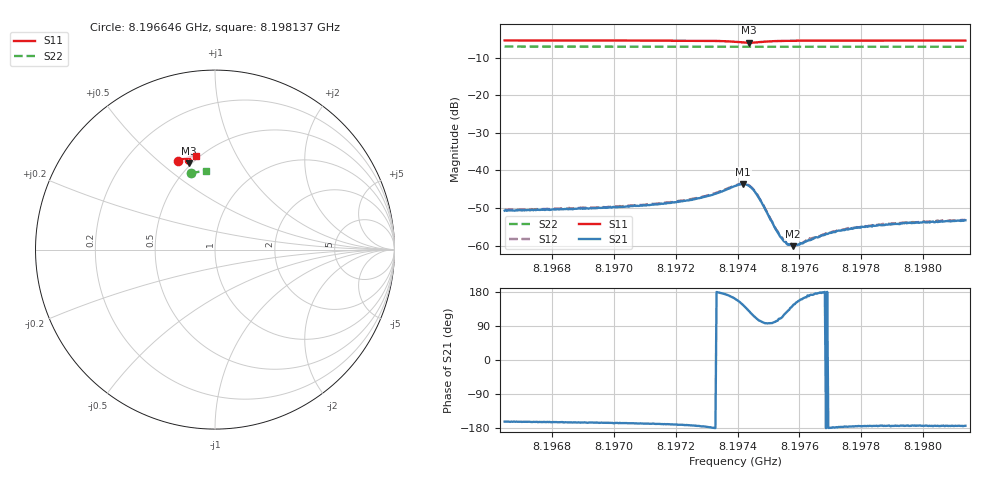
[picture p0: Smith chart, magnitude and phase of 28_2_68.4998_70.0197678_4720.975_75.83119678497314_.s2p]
#  HZ  S  RI  R  50.00
! Rohde & Schwarz Vector Network Analyzer
! Rohde-Schwarz,ZNB20-2Port,1311601062101988,3.16
! Created: UTC 3/20/2024, 4:49:48 PM
! freq[Hz]  re:S11  im:S11  re:S21  im:S21  re:S12  im:S12  re:S22  im:S22
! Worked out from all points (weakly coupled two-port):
!   401 points, 8.196646 GHz to 8.198137 GHz, reference 50 ohm
!   highest |S21| = -43.62 dB at 8.197418 GHz (marker M1); lowest = -60.1 dB at 8.197578 GHz (marker M2)
!   lowest |S11| = -6.0 dB at 8.197437 GHz (marker M3), VSWR 3.01, Z = 24.4 + j31.2 ohm
!   |S11| at or under -10 dB: nowhere
!   |S22| runs from -7.1 to -7.0 dB; largest |S21 - S12| = 0.00035
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8.1966461e9  -0.2043 0.4962  -0.00279 -0.000876  -0.00291 -0.000803  -0.1342 0.424
8.1968959e9  -0.1866 0.5026  -0.00301 -0.000824  -0.0031 -0.000703  -0.1205 0.4275
8.1971457e9  -0.167 0.5082  -0.00349 -0.000699  -0.00359 -0.000586  -0.1067 0.4308
8.1972464e9  -0.1569 0.5098  -0.00402 -0.000525  -0.00412 -0.000361  -0.1013 0.4319
8.1972874e9  -0.1519 0.5097  -0.00439 -0.000384  -0.00448 -0.000208  -0.0989 0.4324
8.1973247e9  -0.1465 0.5087  -0.00485 -5.1e-05  -0.00493 0.000177  -0.0969 0.4327
8.1973918e9  -0.1348 0.4978  -0.0059 0.00195  -0.00592 0.00226  -0.0929 0.4328
8.1974179e9  -0.1357 0.487  -0.0054 0.00377  -0.00532 0.00408  -0.0916 0.4329
8.1974365e9  -0.1432 0.4802  -0.00397 0.00485  -0.00382 0.00512  -0.0909 0.433
8.1974514e9  -0.1513 0.4797  -0.00251 0.00495  -0.00226 0.0051  -0.0901 0.4333
8.1974663e9  -0.1581 0.4833  -0.00126 0.00434  -0.00109 0.00446  -0.0894 0.4334
8.1975185e9  -0.1613 0.5002  -0.000312 0.00178  -0.000252 0.0018  -0.0868 0.4344
8.1975446e9  -0.1586 0.505  -0.00048 0.00113  -0.000497 0.00118  -0.0852 0.4348
8.1975633e9  -0.1564 0.5075  -0.000658 0.000784  -0.00066 0.000817  -0.0842 0.4348
8.1975782e9  -0.1546 0.5089  -0.000785 0.000593  -0.000766 0.000652  -0.0833 0.435
8.1976006e9  -0.1521 0.5108  -0.000951 0.000398  -0.000954 0.000472  -0.0822 0.4352
8.1976416e9  -0.1479 0.5131  -0.00121 0.000171  -0.00124 0.000193  -0.0797 0.4358
8.1976901e9  -0.1432 0.5151  -0.00143 2.7e-06  -0.00144 4.84e-05  -0.077 0.4361
8.1977311e9  -0.1398 0.5165  -0.00158 -8.68e-05  -0.00161 -1.13e-05  -0.0747 0.4365
8.1977609e9  -0.137 0.5172  -0.00165 -0.000131  -0.0017 -5.9e-05  -0.073 0.4366
8.1978914e9  -0.1266 0.5201  -0.00191 -0.000237  -0.00195 -0.000131  -0.0658 0.4376
8.1981375e9  -0.1081 0.5242  -0.00216 -0.000245  -0.00221 -0.000165  -0.0518 0.4391
